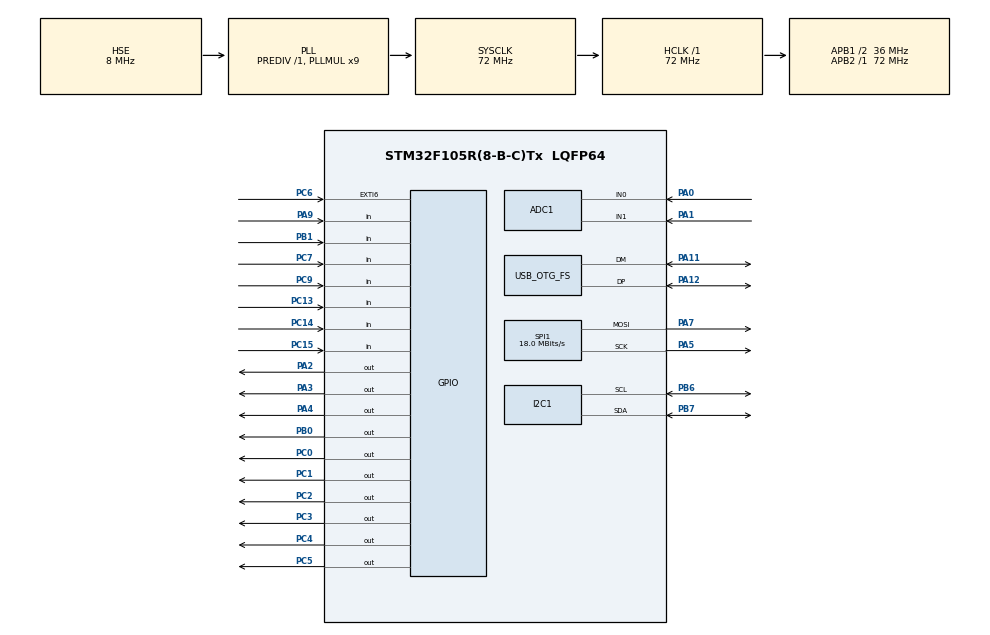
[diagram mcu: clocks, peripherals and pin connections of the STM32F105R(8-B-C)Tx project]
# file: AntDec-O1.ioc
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ADC1.Channel-0\#ChannelRegularConversion=ADC_CHANNEL_0
ADC1.NbrOfConversionFlag=1
ADC1.Rank-0\#ChannelRegularConversion=1
ADC1.SamplingTime-0\#ChannelRegularConversion=ADC_SAMPLETIME_1CYCLE_5
ADC1.master=1
Dma.Request0=SPI1_TX
Dma.SPI1_TX.0.Direction=DMA_MEMORY_TO_PERIPH
Dma.SPI1_TX.0.Instance=DMA1_Channel3
Dma.SPI1_TX.0.MemDataAlignment=DMA_MDATAALIGN_BYTE
Dma.SPI1_TX.0.MemInc=DMA_MINC_ENABLE
Dma.SPI1_TX.0.Mode=DMA_NORMAL
Dma.SPI1_TX.0.PeriphDataAlignment=DMA_PDATAALIGN_BYTE
Dma.SPI1_TX.0.PeriphInc=DMA_PINC_DISABLE
Dma.SPI1_TX.0.Priority=DMA_PRIORITY_HIGH
Mcu.Family=STM32F1
Mcu.Name=STM32F105R(8-B-C)Tx
Mcu.Package=LQFP64
NVIC.DMA1_Channel3_IRQn=true\:2\:0\:true\:false\:true\:true\:true\:true
NVIC.EXTI9_5_IRQn=true\:1\:0\:true\:false\:true\:true\:true\:true
NVIC.OTG_FS_IRQn=true\:0\:0\:false\:false\:true\:false\:true\:true
NVIC.PriorityGroup=NVIC_PRIORITYGROUP_4
PA0-WKUP.Signal=ADCx_IN0
PA1.Signal=ADCx_IN1
PA11.Mode=Device_Only
PA11.Signal=USB_OTG_FS_DM
PA12.Mode=Device_Only
PA12.Signal=USB_OTG_FS_DP
PA13.Mode=Serial_Wire
PA13.Signal=SYS_JTMS-SWDIO
PA14.Mode=Serial_Wire
PA14.Signal=SYS_JTCK-SWCLK
PA2.GPIO_Speed=GPIO_SPEED_FREQ_HIGH
PA2.PinState=GPIO_PIN_SET
PA2.Signal=GPIO_Output
PA3.GPIO_Speed=GPIO_SPEED_FREQ_HIGH
PA3.PinState=GPIO_PIN_SET
PA3.Signal=GPIO_Output
PA4.GPIO_Speed=GPIO_SPEED_FREQ_HIGH
PA4.PinState=GPIO_PIN_SET
PA4.Signal=GPIO_Output
PA5.Mode=TX_Only_Simplex_Unidirect_Master
PA5.Signal=SPI1_SCK
PA7.Mode=TX_Only_Simplex_Unidirect_Master
PA7.Signal=SPI1_MOSI
PA9.GPIO_PuPd=GPIO_NOPULL
PA9.Signal=GPIO_Input
PB0.PinState=GPIO_PIN_RESET
PB0.Signal=GPIO_Output
PB1.GPIO_PuPd=GPIO_PULLUP
PB1.Signal=GPIO_Input
PB6.Mode=I2C
PB6.Signal=I2C1_SCL
PB7.Mode=I2C
PB7.Signal=I2C1_SDA
PC0.PinState=GPIO_PIN_RESET
PC0.Signal=GPIO_Output
PC1.PinState=GPIO_PIN_RESET
PC1.Signal=GPIO_Output
PC13-TAMPER-RTC.GPIO_PuPd=GPIO_PULLUP
PC13-TAMPER-RTC.Signal=GPIO_Input
PC14-OSC32_IN.GPIO_PuPd=GPIO_PULLUP
PC14-OSC32_IN.Signal=GPIO_Input
PC15-OSC32_OUT.GPIO_PuPd=GPIO_NOPULL
PC15-OSC32_OUT.Signal=GPIO_Input
PC2.PinState=GPIO_PIN_RESET
PC2.Signal=GPIO_Output
PC3.PinState=GPIO_PIN_RESET
PC3.Signal=GPIO_Output
PC4.PinState=GPIO_PIN_RESET
PC4.Signal=GPIO_Output
PC5.PinState=GPIO_PIN_SET
PC5.Signal=GPIO_Output
PC6.GPIO_ModeDefaultEXTI=GPIO_MODE_IT_RISING_FALLING
PC6.GPIO_PuPd=GPIO_PULLDOWN
PC6.Signal=GPXTI6
PC7.GPIO_PuPd=GPIO_PULLDOWN
PC7.Signal=GPIO_Input
PC9.GPIO_PuPd=GPIO_PULLUP
PC9.Signal=GPIO_Input
PD0-OSC_IN.Mode=HSE-External-Oscillator
PD0-OSC_IN.Signal=RCC_OSC_IN
PD1-OSC_OUT.Mode=HSE-External-Oscillator
PD1-OSC_OUT.Signal=RCC_OSC_OUT
ProjectManager.HeapSize=0x200
ProjectManager.StackSize=0x400
ProjectManager.TargetToolchain=CMake
RCC.ADCPresc=RCC_ADCPCLK2_DIV6
RCC.AHBFreq_Value=72000000
RCC.APB1CLKDivider=RCC_HCLK_DIV2
RCC.APB1Freq_Value=36000000
RCC.APB1TimFreq_Value=72000000
RCC.APB2Freq_Value=72000000
RCC.APB2TimFreq_Value=72000000
RCC.HCLKFreq_Value=72000000
RCC.PLLMUL=RCC_PLL_MUL9
RCC.SYSCLKFreq_VALUE=72000000
RCC.SYSCLKSource=RCC_SYSCLKSOURCE_PLLCLK
RCC.USBFreq_Value=48000000
SH.ADCx_IN0.0=ADC1_IN0,IN0
SH.ADCx_IN1.0=ADC1_IN1,IN1
SPI1.BaudRatePrescaler=SPI_BAUDRATEPRESCALER_4
SPI1.CalculateBaudRate=18.0 MBits/s
SPI1.Direction=SPI_DIRECTION_2LINES
SPI1.Mode=SPI_MODE_MASTER
SPI1.VirtualType=VM_MASTER
TIM2.Prescaler=71
USB_DEVICE.CLASS_NAME_FS=CDC
USB_DEVICE.PRODUCT_STRING_CDC_FS=AntDec_O1_Debug
USB_DEVICE.PRODUCT_STRING_FS=AntDec_O1_Debug
USB_DEVICE.VirtualMode=Cdc
USB_DEVICE.VirtualModeFS=Cdc_FS
USB_OTG_FS.VirtualMode=Device_Only
VP_ADC1_Vref_Input.Mode=IN-Vrefint
VP_TIM2_VS_ClockSourceINT.Mode=Internal
VP_USB_DEVICE_VS_USB_DEVICE_CDC_FS.Mode=CDC_FS
board=custom

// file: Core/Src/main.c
/* USER CODE BEGIN Header */
/**
  ******************************************************************************
  * @file           : main.c
  * @brief          : Main program body
  ******************************************************************************
  * @attention
  *
  * Copyright (c) 2026 STMicroelectronics.
  * All rights reserved.
  *
  * This software is licensed under terms that can be found in the LICENSE file
  * in the root directory of this software component.
  * If no LICENSE file comes with this software, it is provided AS-IS.
  *
  ******************************************************************************
  */
/* USER CODE END Header */
#include "main.h"
#include "adc.h"
#include "dma.h"
#include "i2c.h"
#include "spi.h"
#include "tim.h"
#include "usb_device.h"
#include "gpio.h"

/* USER CODE BEGIN Includes */
#include "board_hw.h"
#include "power_seq.h"
#include "st7789.h"
#include "ui.h"
#include "xmos_link.h"
#include "usb_debug.h"
/* USER CODE END Includes */

void SystemClock_Config(void);

int main(void)
{

  /* MCU Configuration--------------------------------------------------------*/

  /* Reset of all peripherals, Initializes the Flash interface and the Systick. */
  HAL_Init();

  /* Configure the system clock */
  SystemClock_Config();

  /* Initialize all configured peripherals */
  MX_GPIO_Init();
  MX_DMA_Init();
  MX_SPI1_Init();
  MX_ADC1_Init();
  MX_I2C1_Init();
  MX_TIM2_Init();
  MX_USB_DEVICE_Init();
  /* USER CODE BEGIN 2 */
  (void)HAL_TIM_Base_Start(&htim2);
  SET_BIT(ADC1->CR2, ADC_CR2_TSVREFE);
  (void)HAL_ADCEx_Calibration_Start(&hadc1);
  ST7789_Init(true);
  PowerSeq_Init();
  XmosLink_Init();
  UI_Init();
  /* USER CODE END 2 */

  /* Infinite loop */
  /* USER CODE BEGIN WHILE */
  while (1)
  {
    uint32_t now_ms = HAL_GetTick();
    PowerSeq_Tick(now_ms);
    XmosLink_Tick(now_ms);
    UsbDebug_Tick(now_ms);
    UI_Tick(now_ms);
    /* USER CODE END WHILE */

  }
}

void SystemClock_Config(void)
{
  RCC_OscInitTypeDef RCC_OscInitStruct = {0};
  RCC_ClkInitTypeDef RCC_ClkInitStruct = {0};
  RCC_PeriphCLKInitTypeDef PeriphClkInit = {0};

  /** Initializes the RCC Oscillators according to the specified parameters
  * in the RCC_OscInitTypeDef structure.
  */
  RCC_OscInitStruct.OscillatorType = RCC_OSCILLATORTYPE_HSE;
  RCC_OscInitStruct.HSEState = RCC_HSE_ON;
  RCC_OscInitStruct.HSEPredivValue = RCC_HSE_PREDIV_DIV1;
  RCC_OscInitStruct.HSIState = RCC_HSI_ON;
  RCC_OscInitStruct.Prediv1Source = RCC_PREDIV1_SOURCE_HSE;
  RCC_OscInitStruct.PLL.PLLState = RCC_PLL_ON;
  RCC_OscInitStruct.PLL.PLLSource = RCC_PLLSOURCE_HSE;
  RCC_OscInitStruct.PLL.PLLMUL = RCC_PLL_MUL9;
  RCC_OscInitStruct.PLL2.PLL2State = RCC_PLL_NONE;
  if (HAL_RCC_OscConfig(&RCC_OscInitStruct) != HAL_OK)
  {
    Error_Handler();
  }

  /** Initializes the CPU, AHB and APB buses clocks
  */
  RCC_ClkInitStruct.ClockType = RCC_CLOCKTYPE_HCLK|RCC_CLOCKTYPE_SYSCLK
                              |RCC_CLOCKTYPE_PCLK1|RCC_CLOCKTYPE_PCLK2;
  RCC_ClkInitStruct.SYSCLKSource = RCC_SYSCLKSOURCE_PLLCLK;
  RCC_ClkInitStruct.AHBCLKDivider = RCC_SYSCLK_DIV1;
  RCC_ClkInitStruct.APB1CLKDivider = RCC_HCLK_DIV2;
  RCC_ClkInitStruct.APB2CLKDivider = RCC_HCLK_DIV1;

  if (HAL_RCC_ClockConfig(&RCC_ClkInitStruct, FLASH_LATENCY_2) != HAL_OK)
  {
    Error_Handler();
  }
  PeriphClkInit.PeriphClockSelection = RCC_PERIPHCLK_ADC|RCC_PERIPHCLK_USB;
  PeriphClkInit.AdcClockSelection = RCC_ADCPCLK2_DIV6;
  PeriphClkInit.UsbClockSelection = RCC_USBCLKSOURCE_PLL_DIV3;
  if (HAL_RCCEx_PeriphCLKConfig(&PeriphClkInit) != HAL_OK)
  {
    Error_Handler();
  }

  /** Configure the Systick interrupt time
  */
  __HAL_RCC_PLLI2S_ENABLE();
}

void Error_Handler(void)
{
  __disable_irq();
  while (1)
  {
  }
}
